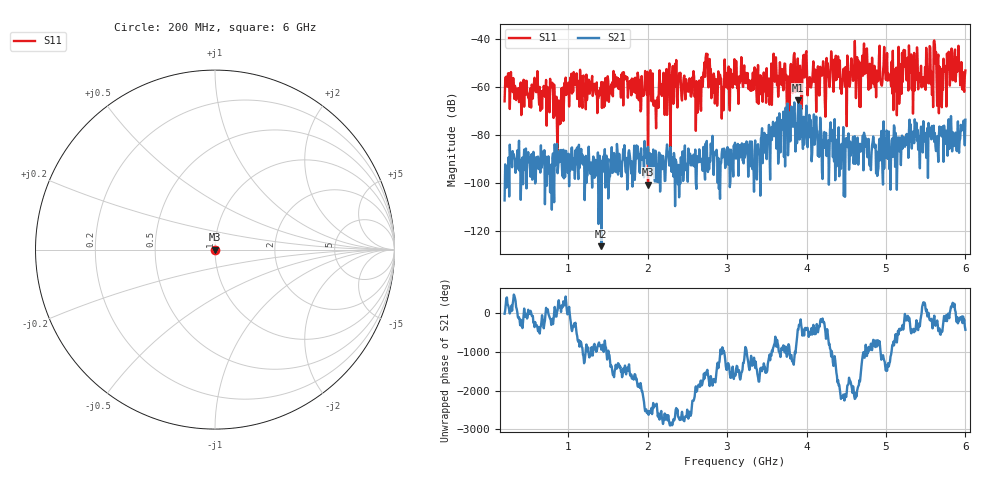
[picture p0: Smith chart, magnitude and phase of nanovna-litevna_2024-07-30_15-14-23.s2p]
! NanoVNA-App by OneOfEleven et al v1.1.209 (+OD15)
! Date: 2024-07-30 15:14:26
! Start: 200MHz Stop: 6GHz Points: 801
! S-Parameter data: F S11 S21 S12 S22
# Hz S RI R 50
!  Frequency  S11_Real  S11_Imag  S21_Real  S21_Imag  S12_Real  S12_Imag  S22_Real  S22_Imag
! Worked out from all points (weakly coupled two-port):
!   801 points, 200 MHz to 6 GHz, reference 50 ohm
!   highest |S21| = -65.41 dB at 3.897 GHz (marker M1); lowest = -126.4 dB at 1.418 GHz (marker M2)
!   lowest |S11| = -100.6 dB at 2.005 GHz (marker M3), VSWR 1.00, Z = 50 - j0.000453 ohm
!   |S11| at or under -10 dB: start of sweep to end of sweep
!   S12 and S22 are empty: the file has one direction only
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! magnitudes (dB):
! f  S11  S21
! 200 MHz  -65.9  -107.3
! 772.8 MHz  -56.5  -103.9
! 874.2 MHz  -67.0  -93.1
! 975.8 MHz  -63.3  -86.7
! 1.171 GHz  -63.5  -91.7
! 1.418 GHz  -57.9  -126.4
! 2.005 GHz  -100.6  -84.9
! 2.136 GHz  -68.6  -99.7
! 2.332 GHz  -60.3  -87.5
! 2.636 GHz  -69.2  -90.5
! 2.73 GHz  -47.7  -83.5
! 2.846 GHz  -66.8  -88.5
! 3.1 GHz  -58.5  -83.2
! 3.897 GHz  -61.9  -65.4
! 4.072 GHz  -56.9  -87.6
! 4.652 GHz  -48.8  -92.3
! 4.731 GHz  -54.5  -80.5
! 5.036 GHz  -55.1  -78.5
! 5.63 GHz  -45.3  -86.7
! 5.696 GHz  -52.6  -76.8
! 5.84 GHz  -57.1  -78.8
! 6 GHz  -53.0  -73.6
